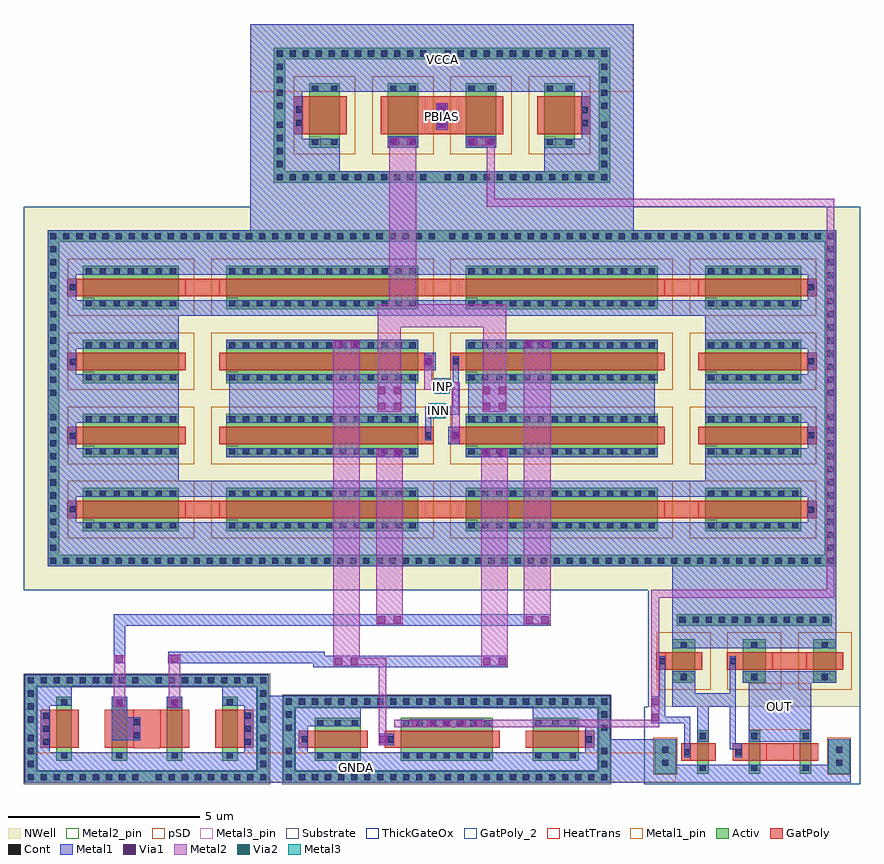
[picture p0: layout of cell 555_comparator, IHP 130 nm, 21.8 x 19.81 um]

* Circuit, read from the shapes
.subckt 555_comparator GNDA INN INP OUT PBIAS VCCA
XM1 GNDA GNDA GNDA GNDA sg13_hv_nmos w=0.4u l=1u m=2
XM2 n1 n1 GNDA GNDA sg13_hv_nmos w=0.4u l=1u
XM3 n2 n1 GNDA GNDA sg13_hv_nmos w=0.4u l=1u
XM4 GNDA GNDA GNDA GNDA sg13_hv_nmos w=1.2u l=0.45u m=2
XM5 n3 n2 GNDA GNDA sg13_hv_nmos w=2.4u l=0.45u
XM6 n4 n3 GNDA GNDA sg13_hv_nmos w=0.3u l=0.45u
XM7 OUT n4 GNDA GNDA sg13_hv_nmos w=0.3u l=0.45u m=2
XM8 VCCA VCCA VCCA VCCA sg13_hv_pmos w=2.5u l=0.45u m=8
XM9 VCCA VCCA VCCA VCCA sg13_hv_pmos w=5u l=0.45u m=4
XM10 n5 INN n1 VCCA sg13_hv_pmos w=5u l=0.45u m=2
XM11 n2 INP n5 VCCA sg13_hv_pmos w=5u l=0.45u m=2
XM12 VCCA VCCA VCCA VCCA sg13_hv_pmos w=0.8u l=1u m=2
XM13 VCCA PBIAS n5 VCCA sg13_hv_pmos w=0.8u l=1u
XM14 VCCA PBIAS n3 VCCA sg13_hv_pmos w=0.8u l=1u
XM15 VCCA n3 n4 VCCA sg13_hv_pmos w=0.6u l=0.45u
XM16 VCCA n4 OUT VCCA sg13_hv_pmos w=0.6u l=0.45u m=2
.ends

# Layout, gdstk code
from math import pi, radians
import gdstk
lib = gdstk.Library(unit=1e-6, precision=5e-09)
def R(c, l, rs):  # rectangles x0, y0, x1, y1
    for r in rs: c.add(gdstk.rectangle(r[:2], r[2:], *l))
def A(c, l, x, y, w, h, nx, ny, dx, dy):  # array of equal rectangles
    R(c, l, [(x+i*dx, y+j*dy, x+i*dx+w, y+j*dy+h) for i in range(nx) for j in range(ny)])
def P(c, l, *ps):  # polygons
    for p in ps: c.add(gdstk.Polygon(p, *l))
Activ = (1, 0)
GatPoly = (5, 0)
GatPoly_2 = (5, 2)
Cont = (6, 0)
Metal1 = (8, 0)
Metal1_pin = (8, 2)
Metal2 = (10, 0)
Metal2_pin = (10, 2)
pSD = (14, 0)
Via1 = (19, 0)
Via2 = (29, 0)
Metal3 = (30, 0)
Metal3_pin = (30, 2)
NWell = (31, 0)
Substrate = (40, 0)
ThickGateOx = (44, 0)
HeatTrans = (51, 0)

nmoshv = lib.new_cell('nmosHV')
R(nmoshv, Activ, [(0,0,0.3,0.3), (0,0,1.68,0.4), (1.38,0,1.68,0.3)])
R(nmoshv, GatPoly, [(0.34,-0.18,1.34,0.58)])
R(nmoshv, GatPoly_2, [(0.34,-0.18,1.34,0.58)])
R(nmoshv, Cont, [(0.07,0.12,0.23,0.28), (1.45,0.12,1.61,0.28)])
R(nmoshv, Metal1, [(0.07,0,0.23,0.4), (1.45,0,1.61,0.4)])
R(nmoshv, Metal1_pin, [(0.07,0,0.23,0.4), (1.45,0,1.61,0.4)])
R(nmoshv, ThickGateOx, [(-0.27,-0.52,1.95,0.92)])
R(nmoshv, HeatTrans, [(0.34,-0.18,1.34,0.58)])
nmoshv.add(gdstk.Label('nmosHV', (0.84,0.2), layer=63, texttype=0))
nmoshv.add(gdstk.Label('nmosHV', (0.84,0.2), layer=51, texttype=0))

via_stack = lib.new_cell('via_stack')
R(via_stack, GatPoly, [(-0.15,-0.49,0.15,0.49)])
A(via_stack, Cont, -0.08, -0.42, 0.16, 0.16, 1, 3, 0, 0.34)
R(via_stack, Metal1, [(-0.08,-0.47,0.08,0.47)])

via_stack_1 = lib.new_cell('via_stack$1')
R(via_stack_1, GatPoly, [(-0.15,-0.32,0.15,0.32)])
R(via_stack_1, Cont, [(-0.08,-0.25,0.08,-0.09), (-0.08,0.09,0.08,0.25)])
R(via_stack_1, Metal1, [(-0.08,-0.3,0.08,0.3)])

pmoshv = lib.new_cell('pmosHV')
R(pmoshv, Activ, [(0,0,0.3,0.3), (0,0,1.13,5), (0.83,0,1.13,0.3)])
R(pmoshv, GatPoly, [(0.34,-0.18,0.79,5.18)])
R(pmoshv, GatPoly_2, [(0.34,-0.18,0.79,5.18)])
A(pmoshv, Cont, 0.07, 0.07, 0.16, 0.16, 1, 4, 0, 0.36)
A(pmoshv, Cont, 0.9, 0.07, 0.16, 0.16, 1, 4, 0, 0.36)
A(pmoshv, Cont, 0.07, 1.515, 0.16, 0.16, 1, 3, 0, 0.36)
A(pmoshv, Cont, 0.9, 1.515, 0.16, 0.16, 1, 3, 0, 0.36)
A(pmoshv, Cont, 0.07, 2.6, 0.16, 0.16, 1, 3, 0, 0.36)
A(pmoshv, Cont, 0.9, 2.6, 0.16, 0.16, 1, 3, 0, 0.36)
A(pmoshv, Cont, 0.07, 3.685, 0.16, 0.16, 1, 3, 0, 0.36)
A(pmoshv, Cont, 0.9, 3.685, 0.16, 0.16, 1, 3, 0, 0.36)
R(pmoshv, Cont, [(0.07,4.77,0.23,4.93), (0.9,4.77,1.06,4.93)])
R(pmoshv, Metal1, [(0.07,0,0.23,5), (0.9,0,1.06,5)])
R(pmoshv, Metal1_pin, [(0.07,0,0.23,5), (0.9,0,1.06,5)])
R(pmoshv, pSD, [(-0.18,-0.4,1.31,5.4)])
R(pmoshv, NWell, [(-0.62,-0.62,1.75,5.62)])
R(pmoshv, Substrate, [(0.83,0,1.13,0.3)])
R(pmoshv, ThickGateOx, [(-0.62,-0.62,1.75,5.62)])
R(pmoshv, HeatTrans, [(0.34,-0.18,0.79,5.18)])
pmoshv.add(gdstk.Label('pmosHV', (0.565,2.5), layer=63, texttype=0))
pmoshv.add(gdstk.Label('pmos', (0.565,2.5), layer=51, texttype=0))

via_stack_14 = lib.new_cell('via_stack$14')
R(via_stack_14, Metal1, [(-0.35,-0.31,0.35,0.31)])
R(via_stack_14, Metal2, [(-0.35,-0.305,0.35,0.305)])
R(via_stack_14, Via1, [(-0.3,-0.3,-0.11,-0.11), (0.11,-0.3,0.3,-0.11), (-0.3,0.11,-0.11,0.3), (0.11,0.11,0.3,0.3)])

pmoshv_1 = lib.new_cell('pmosHV$1')
R(pmoshv_1, Activ, [(0,0,0.3,0.3), (0,0,1.13,2.5), (0.83,0,1.13,0.3)])
R(pmoshv_1, GatPoly, [(0.34,-0.18,0.79,2.68)])
R(pmoshv_1, GatPoly_2, [(0.34,-0.18,0.79,2.68)])
A(pmoshv_1, Cont, 0.07, 0.07, 0.16, 0.16, 1, 3, 0, 0.365)
A(pmoshv_1, Cont, 0.9, 0.07, 0.16, 0.16, 1, 3, 0, 0.365)
A(pmoshv_1, Cont, 0.07, 1.17, 0.16, 0.16, 1, 3, 0, 0.365)
A(pmoshv_1, Cont, 0.9, 1.17, 0.16, 0.16, 1, 3, 0, 0.365)
R(pmoshv_1, Cont, [(0.07,2.27,0.23,2.43), (0.9,2.27,1.06,2.43)])
R(pmoshv_1, Metal1, [(0.07,0,0.23,2.5), (0.9,0,1.06,2.5)])
R(pmoshv_1, Metal1_pin, [(0.07,0,0.23,2.5), (0.9,0,1.06,2.5)])
R(pmoshv_1, pSD, [(-0.18,-0.4,1.31,2.9)])
R(pmoshv_1, NWell, [(-0.62,-0.62,1.75,3.12)])
R(pmoshv_1, Substrate, [(0.83,0,1.13,0.3)])
R(pmoshv_1, ThickGateOx, [(-0.62,-0.62,1.75,3.12)])
R(pmoshv_1, HeatTrans, [(0.34,-0.18,0.79,2.68)])
pmoshv_1.add(gdstk.Label('pmosHV', (0.565,1.25), layer=63, texttype=0))
pmoshv_1.add(gdstk.Label('pmos', (0.565,1.25), layer=51, texttype=0))

pmoshv_2 = lib.new_cell('pmosHV$2')
R(pmoshv_2, Activ, [(0,0,0.3,0.3), (0,0,1.68,0.8), (1.38,0,1.68,0.3)])
R(pmoshv_2, GatPoly, [(0.34,-0.18,1.34,0.98)])
R(pmoshv_2, GatPoly_2, [(0.34,-0.18,1.34,0.98)])
R(pmoshv_2, Cont, [(0.07,0.07,0.23,0.23), (1.45,0.07,1.61,0.23), (0.07,0.57,0.23,0.73), (1.45,0.57,1.61,0.73)])
R(pmoshv_2, Metal1, [(0.07,0,0.23,0.8), (1.45,0,1.61,0.8)])
R(pmoshv_2, Metal1_pin, [(0.07,0,0.23,0.8), (1.45,0,1.61,0.8)])
R(pmoshv_2, pSD, [(-0.18,-0.4,1.86,1.2)])
R(pmoshv_2, NWell, [(-0.62,-0.62,2.3,1.42)])
R(pmoshv_2, Substrate, [(1.38,0,1.68,0.3)])
R(pmoshv_2, ThickGateOx, [(-0.62,-0.62,2.3,1.42)])
R(pmoshv_2, HeatTrans, [(0.34,-0.18,1.34,0.98)])
pmoshv_2.add(gdstk.Label('pmosHV', (0.84,0.4), layer=63, texttype=0))
pmoshv_2.add(gdstk.Label('pmos', (0.84,0.4), layer=51, texttype=0))

via_stack_3 = lib.new_cell('via_stack$3')
R(via_stack_3, GatPoly, [(-0.15,-0.15,0.15,0.15)])
R(via_stack_3, Cont, [(-0.08,-0.08,0.08,0.08)])
R(via_stack_3, Metal1, [(-0.13,-0.08,0.13,0.08)])

via_stack_15 = lib.new_cell('via_stack$15')
R(via_stack_15, Metal1, [(-0.965,-0.105,0.965,0.105)])
R(via_stack_15, Metal2, [(-0.965,-0.1,0.965,0.1)])
A(via_stack_15, Via1, -0.915, -0.095, 0.19, 0.19, 5, 1, 0.41, 0)

nmoshv_2 = lib.new_cell('nmosHV$2')
R(nmoshv_2, Activ, [(0,0,0.3,0.3), (0,0,1.13,2.4), (0.83,0,1.13,0.3)])
R(nmoshv_2, GatPoly, [(0.34,-0.18,0.79,2.58)])
R(nmoshv_2, GatPoly_2, [(0.34,-0.18,0.79,2.58)])
A(nmoshv_2, Cont, 0.07, 0.07, 0.16, 0.16, 1, 7, 0, 0.35)
A(nmoshv_2, Cont, 0.9, 0.07, 0.16, 0.16, 1, 7, 0, 0.35)
R(nmoshv_2, Metal1, [(0.07,0,0.23,2.4), (0.9,0,1.06,2.4)])
R(nmoshv_2, Metal1_pin, [(0.07,0,0.23,2.4), (0.9,0,1.06,2.4)])
R(nmoshv_2, ThickGateOx, [(-0.27,-0.52,1.4,2.92)])
R(nmoshv_2, HeatTrans, [(0.34,-0.18,0.79,2.58)])
nmoshv_2.add(gdstk.Label('nmosHV', (0.565,1.2), layer=63, texttype=0))
nmoshv_2.add(gdstk.Label('nmosHV', (0.565,1.2), layer=51, texttype=0))

nmoshv_3 = lib.new_cell('nmosHV$3')
R(nmoshv_3, Activ, [(0,0,0.3,0.3), (0,0,1.13,1.2), (0.83,0,1.13,0.3)])
R(nmoshv_3, GatPoly, [(0.34,-0.18,0.79,1.38)])
R(nmoshv_3, GatPoly_2, [(0.34,-0.18,0.79,1.38)])
A(nmoshv_3, Cont, 0.07, 0.07, 0.16, 0.16, 1, 3, 0, 0.45)
A(nmoshv_3, Cont, 0.9, 0.07, 0.16, 0.16, 1, 3, 0, 0.45)
R(nmoshv_3, Metal1, [(0.07,0,0.23,1.2), (0.9,0,1.06,1.2)])
R(nmoshv_3, Metal1_pin, [(0.07,0,0.23,1.2), (0.9,0,1.06,1.2)])
R(nmoshv_3, ThickGateOx, [(-0.27,-0.52,1.4,1.72)])
R(nmoshv_3, HeatTrans, [(0.34,-0.18,0.79,1.38)])
nmoshv_3.add(gdstk.Label('nmosHV', (0.565,0.6), layer=63, texttype=0))
nmoshv_3.add(gdstk.Label('nmosHV', (0.565,0.6), layer=51, texttype=0))

via_stack_12 = lib.new_cell('via_stack$12')
R(via_stack_12, Metal1, [(-0.35,-0.105,0.35,0.105)])
R(via_stack_12, Metal2, [(-0.35,-0.1,0.35,0.1)])
R(via_stack_12, Via1, [(-0.3,-0.095,-0.11,0.095), (0.11,-0.095,0.3,0.095)])

nmoshv_4 = lib.new_cell('nmosHV$4')
R(nmoshv_4, Activ, [(0,0,0.3,0.3), (0,0,1.13,0.3), (0.83,0,1.13,0.3)])
R(nmoshv_4, GatPoly, [(0.34,-0.18,0.79,0.48)])
R(nmoshv_4, GatPoly_2, [(0.34,-0.18,0.79,0.48)])
R(nmoshv_4, Cont, [(0.07,0.07,0.23,0.23), (0.9,0.07,1.06,0.23)])
R(nmoshv_4, Metal1, [(0.07,0,0.23,0.3), (0.9,0,1.06,0.3)])
R(nmoshv_4, Metal1_pin, [(0.07,0,0.23,0.3), (0.9,0,1.06,0.3)])
R(nmoshv_4, ThickGateOx, [(-0.27,-0.52,1.4,0.82)])
R(nmoshv_4, HeatTrans, [(0.34,-0.18,0.79,0.48)])
nmoshv_4.add(gdstk.Label('nmosHV', (0.565,0.15), layer=63, texttype=0))
nmoshv_4.add(gdstk.Label('nmosHV', (0.565,0.15), layer=51, texttype=0))

pmoshv_3 = lib.new_cell('pmosHV$3')
R(pmoshv_3, Activ, [(0,0,0.3,0.3), (0,0,1.13,0.6), (0.83,0,1.13,0.3)])
R(pmoshv_3, GatPoly, [(0.34,-0.18,0.79,0.78)])
R(pmoshv_3, GatPoly_2, [(0.34,-0.18,0.79,0.78)])
R(pmoshv_3, Cont, [(0.07,0.22,0.23,0.38), (0.9,0.22,1.06,0.38)])
R(pmoshv_3, Metal1, [(0.07,0,0.23,0.6), (0.9,0,1.06,0.6)])
R(pmoshv_3, Metal1_pin, [(0.07,0,0.23,0.6), (0.9,0,1.06,0.6)])
R(pmoshv_3, pSD, [(-0.18,-0.4,1.31,1)])
R(pmoshv_3, NWell, [(-0.62,-0.62,1.75,1.22)])
R(pmoshv_3, Substrate, [(0.83,0,1.13,0.3)])
R(pmoshv_3, ThickGateOx, [(-0.62,-0.62,1.75,1.22)])
R(pmoshv_3, HeatTrans, [(0.34,-0.18,0.79,0.78)])
pmoshv_3.add(gdstk.Label('pmosHV', (0.565,0.3), layer=63, texttype=0))
pmoshv_3.add(gdstk.Label('pmos', (0.565,0.3), layer=51, texttype=0))

via_stack_4 = lib.new_cell('via_stack$4')
R(via_stack_4, Activ, [(-0.15,-2.02,0.15,2.02)])
A(via_stack_4, Cont, -0.08, -1.95, 0.16, 0.16, 1, 12, 0, 0.34)
R(via_stack_4, Metal1, [(-0.08,-2,0.08,2)])

via_stack_6 = lib.new_cell('via_stack$6')
R(via_stack_6, Activ, [(-0.32,-0.15,0.32,0.15)])
R(via_stack_6, Cont, [(-0.25,-0.08,-0.09,0.08), (0.09,-0.08,0.25,0.08)])
R(via_stack_6, Metal1, [(-0.3,-0.08,0.3,0.08)])

via_stack_16 = lib.new_cell('via_stack$16')
R(via_stack_16, GatPoly, [(-0.32,-0.15,0.32,0.15)])
R(via_stack_16, Cont, [(-0.25,-0.08,-0.09,0.08), (0.09,-0.08,0.25,0.08)])
R(via_stack_16, Metal1, [(-0.35,-0.105,0.35,0.105)])
R(via_stack_16, Metal2, [(-0.35,-0.1,0.35,0.1)])
R(via_stack_16, Via1, [(-0.3,-0.095,-0.11,0.095), (0.11,-0.095,0.3,0.095)])

via_stack_8 = lib.new_cell('via_stack$8')
R(via_stack_8, GatPoly, [(-0.32,-0.15,0.32,0.15)])
R(via_stack_8, Cont, [(-0.25,-0.08,-0.09,0.08), (0.09,-0.08,0.25,0.08)])
R(via_stack_8, Metal1, [(-0.3,-0.08,0.3,0.08)])

via_stack_9 = lib.new_cell('via_stack$9')
R(via_stack_9, GatPoly, [(-0.15,-0.15,0.15,0.15)])
R(via_stack_9, Cont, [(-0.08,-0.08,0.08,0.08)])
R(via_stack_9, Metal1, [(-0.145,-0.105,0.145,0.105)])
R(via_stack_9, Metal2, [(-0.145,-0.1,0.145,0.1)])
R(via_stack_9, Via1, [(-0.095,-0.095,0.095,0.095)])

via_stack_10 = lib.new_cell('via_stack$10')
R(via_stack_10, Metal1, [(-0.145,-0.105,0.145,0.105)])
R(via_stack_10, Metal2, [(-0.145,-0.1,0.145,0.1)])
R(via_stack_10, Via1, [(-0.095,-0.095,0.095,0.095)])
R(via_stack_10, Via2, [(-0.095,-0.095,0.095,0.095)])
R(via_stack_10, Metal3, [(-0.145,-0.1,0.145,0.1)])

via_stack_11 = lib.new_cell('via_stack$11')
R(via_stack_11, Metal2, [(-0.145,-0.1,0.145,0.1)])
R(via_stack_11, Via2, [(-0.095,-0.095,0.095,0.095)])
R(via_stack_11, Metal3, [(-0.145,-0.1,0.145,0.1)])

via_stack_13 = lib.new_cell('via_stack$13')
R(via_stack_13, Metal1, [(-0.145,-0.105,0.145,0.105)])
R(via_stack_13, Metal2, [(-0.145,-0.1,0.145,0.1)])
R(via_stack_13, Via1, [(-0.095,-0.095,0.095,0.095)])

c_555_comparator = lib.new_cell('555_comparator')
R(c_555_comparator, Activ, [(16.44,0.27,17,1.17), (20.97,0.27,21.53,1.17), (0.03,0.33,0.33,2.55), (6.09,0.33,6.39,2.55), (6.76,0.33,7.06,2), (14.98,0.33,15.28,2), (6.76,2,15.28,2.3), (0.03,2.55,6.39,2.85), (0.62,5.97,0.92,14.13), (20.88,5.97,21.18,14.13), (0.62,14.13,21.18,14.43), (6.52,15.97,6.82,18.89), (14.98,15.97,15.28,18.89), (6.52,18.89,15.28,19.19)])
P(c_555_comparator, Activ, [(6.76,0.03),(6.76,2),(7.06,2),(7.06,0.33),(14.98,0.33),(14.98,2),(6.76,2),(6.76,2.3),(15.28,2.3),(15.28,0.03)],
  [(0.03,0.03),(0.03,2.55),(0.33,2.55),(0.33,0.33),(6.09,0.33),(6.09,2.55),(0.03,2.55),(0.03,2.85),(6.39,2.85),(6.39,0.03)],
  [(0.62,5.67),(0.62,14.13),(0.92,14.13),(0.92,5.97),(20.88,5.97),(20.88,14.13),(0.62,14.13),(0.62,14.43),(21.18,14.43),(21.18,5.67)],
  [(6.52,15.67),(6.52,18.89),(6.82,18.89),(6.82,15.97),(14.98,15.97),(14.98,18.89),(6.52,18.89),(6.52,19.19),(15.28,19.19),(15.28,15.67)])
A(c_555_comparator, GatPoly, 1.13, 6.93, 0.23, 0.45, 1, 4, 0, 1.93)
A(c_555_comparator, GatPoly, 4.22, 6.93, 0.88, 0.45, 3, 2, 6.24, 5.79)
A(c_555_comparator, GatPoly, 20.44, 6.93, 0.23, 0.45, 1, 4, 0, 1.93)
R(c_555_comparator, GatPoly, [(17.14,0.61,17.37,1.06), (18.48,0.61,18.71,1.06), (19.37,0.61,20.05,1.06), (2.87,0.935,3.55,1.935), (7.17,0.94,7.4,1.39), (9.41,0.94,9.64,1.39), (14.64,0.94,14.87,1.39), (16.48,2.98,16.72,3.43), (18.32,2.98,18.56,3.43), (19.52,2.98,20.4,3.43), (10.46,8.86,10.69,9.31), (11.11,8.86,11.34,9.31), (10.46,10.79,10.69,11.24), (11.11,10.79,11.34,11.24), (7.03,16.93,7.26,17.93), (10.46,16.93,11.34,17.93), (14.54,16.93,14.77,17.93)])
A(c_555_comparator, Cont, 0.1, 0.1, 0.16, 0.16, 9, 2, 0.34, 2.52)
A(c_555_comparator, Cont, 3.44, 0.1, 0.16, 0.16, 9, 2, 0.34, 2.52)
A(c_555_comparator, Cont, 6.83, 0.1, 0.16, 0.16, 12, 2, 0.34, 1.97)
A(c_555_comparator, Cont, 10.97, 0.1, 0.16, 0.16, 13, 2, 0.34, 1.97)
A(c_555_comparator, Cont, 0.1, 0.44, 0.16, 0.16, 1, 3, 0, 0.34)
A(c_555_comparator, Cont, 6.16, 0.44, 0.16, 0.16, 1, 3, 0, 0.34)
A(c_555_comparator, Cont, 0.1, 1.6, 0.16, 0.16, 1, 3, 0, 0.34)
A(c_555_comparator, Cont, 6.16, 1.6, 0.16, 0.16, 1, 3, 0, 0.34)
A(c_555_comparator, Cont, 0.69, 5.74, 0.16, 0.16, 30, 2, 0.34, 8.46)
A(c_555_comparator, Cont, 11.09, 5.74, 0.16, 0.16, 30, 2, 0.34, 8.46)
A(c_555_comparator, Cont, 0.69, 6.08, 0.16, 0.16, 1, 11, 0, 0.34)
A(c_555_comparator, Cont, 20.95, 6.08, 0.16, 0.16, 1, 11, 0, 0.34)
A(c_555_comparator, Cont, 0.69, 10.12, 0.16, 0.16, 1, 12, 0, 0.34)
A(c_555_comparator, Cont, 20.95, 10.12, 0.16, 0.16, 1, 12, 0, 0.34)
A(c_555_comparator, Cont, 6.59, 15.74, 0.16, 0.16, 12, 2, 0.34, 3.22)
A(c_555_comparator, Cont, 10.97, 15.74, 0.16, 0.16, 13, 2, 0.34, 3.22)
A(c_555_comparator, Cont, 6.59, 16.08, 0.16, 0.16, 1, 4, 0, 0.34)
A(c_555_comparator, Cont, 15.05, 16.08, 0.16, 0.16, 1, 4, 0, 0.34)
A(c_555_comparator, Cont, 6.59, 17.6, 0.16, 0.16, 1, 4, 0, 0.34)
A(c_555_comparator, Cont, 15.05, 17.6, 0.16, 0.16, 1, 4, 0, 0.34)
R(c_555_comparator, Cont, [(6.83,0.44,6.99,0.6), (15.05,0.44,15.21,0.6), (6.83,0.78,6.99,0.94), (15.05,0.78,15.21,0.94), (6.83,1.39,6.99,1.55), (15.05,1.39,15.21,1.55), (6.83,1.73,6.99,1.89), (15.05,1.73,15.21,1.89)])
A(c_555_comparator, Metal1, 1.36, 7.49, 2.68, 1.26, 1, 3, 0, 1.93)
A(c_555_comparator, Metal1, 17.76, 7.49, 2.68, 1.26, 1, 3, 0, 1.93)
R(c_555_comparator, Metal1, [(0.03,0.03,6.39,0.33), (6.39,0.03,6.76,2.3), (6.76,0.03,15.28,0.33), (15.12,0.03,21.56,0.24), (15.12,0.21,16.41,1.17), (16.41,0.24,17,1.17), (16.41,0.24,17.55,0.5), (17.55,0.24,21.56,0.5), (0.33,0.325,1.25,0.825), (1.25,0.325,6.09,0.825), (7.06,0.325,14.98,0.825), (0.03,0.33,0.33,2.55), (6.09,0.33,6.39,2.55), (6.76,0.33,7.06,2), (14.98,0.33,15.28,2), (20.97,0.5,21.56,1.17), (0.33,0.825,0.67,2.545), (5.75,0.825,6.09,2.045), (7.06,0.825,7.4,1.5), (14.64,0.825,14.98,1.5), (9.275,1.01,9.64,1.31), (17.55,1.1,17.85,2.02), (18.89,1.1,20.53,1.4), (2.29,1.135,3.03,1.735), (18.89,1.4,20.53,2.64), (7.06,1.5,8.78,2), (13.26,1.5,14.98,2), (2.29,1.735,2.69,2.05), (2.29,1.98,2.69,2.28), (3.73,1.98,4.13,2.28), (6.76,2,15.28,2.3), (16.9,2.02,17.5,2.94), (16.9,2.02,17.85,2.37), (17.85,2.02,18.4,2.37), (0.33,2.045,1.25,2.545), (5.17,2.045,6.09,2.545), (0.33,2.545,1.25,2.55), (5.17,2.545,6.09,2.55), (0.03,2.55,6.39,2.85), (18.74,2.64,21.18,2.94), (16.9,3.54,21.18,4.36), (16.9,4.36,21.18,5.67), (0.62,5.67,21.18,5.97), (0.62,5.97,0.92,14.13), (0.92,5.97,20.88,6.82), (0.92,5.97,1.36,14.13), (20.44,5.97,20.88,14.13), (20.88,5.97,21.18,14.13), (4.04,7.49,17.76,7.9), (5.28,8.52,10.28,8.75), (11.52,8.52,16.52,8.75), (11.06,8.86,11.36,9.31), (5.35,9.42,10.21,10.68), (11.59,9.42,16.45,10.68), (10.46,9.62,11.34,9.84), (10.44,10.79,10.74,11.24), (5.28,11.35,10.28,11.58), (11.52,11.35,16.52,11.58), (4.04,12.2,17.76,12.61), (0.92,13.28,20.88,14.13), (0.62,14.13,21.18,14.43), (5.9,14.43,6.52,19.19), (6.52,14.43,15.28,15.67), (15.28,14.43,15.9,19.19), (6.52,15.67,15.28,15.97), (6.52,15.97,6.82,18.89), (6.82,15.97,7.26,18.04), (7.26,15.97,8.24,16.82), (13.56,15.97,14.54,16.82), (14.54,15.97,14.98,18.04), (14.98,15.97,15.28,18.89), (9.48,16.59,10.28,16.89), (11.52,16.59,12.32,16.89), (6.82,18.04,14.98,18.89), (6.52,18.89,15.28,19.19), (5.9,19.19,15.9,19.81)])
R(c_555_comparator, Metal1_pin, [(0.04,0.04,16.99,0.82), (18.91,1.42,20.51,2.62), (5.92,18.05,15.89,19.8)])
R(c_555_comparator, Metal2, [(8.06,3.08,8.76,11.36), (11.92,3.08,12.62,8.74), (9.18,4.17,9.88,8.74), (13.03,4.17,13.73,11.56), (10.54,9.53,10.94,9.93), (10.75,17.05,11.05,17.75)])
R(c_555_comparator, Metal2_pin, [(10.76,17.06,11.04,17.74)])
R(c_555_comparator, pSD, [(16.41,0.24,17.03,1.2), (20.94,0.24,21.56,1.2), (0,0.36,0.36,2.52), (6.06,0.36,6.42,2.52), (6.73,0.36,7.09,1.97), (14.95,0.36,15.31,1.97), (6.73,1.97,15.31,2.33), (0,2.52,6.42,2.88)])
P(c_555_comparator, pSD, [(6.73,0),(6.73,1.97),(7.09,1.97),(7.09,0.36),(14.95,0.36),(14.95,1.97),(6.73,1.97),(6.73,2.33),(15.31,2.33),(15.31,0)],
  [(0,0),(0,2.52),(0.36,2.52),(0.36,0.36),(6.06,0.36),(6.06,2.52),(0,2.52),(0,2.88),(6.42,2.88),(6.42,0)])
R(c_555_comparator, Metal3, [(10.6,9.53,11,9.93), (10.7,10.17,11.1,10.57)])
R(c_555_comparator, Metal3_pin, [(10.61,9.54,10.99,9.92), (10.71,10.18,11.09,10.56)])
R(c_555_comparator, NWell, [(16.28,4.39,21.8,5.05), (0,5.05,21.8,15.05), (0.27,5.32,21.53,14.78), (5.9,15.05,15.9,19.81), (6.17,15.32,15.63,19.54)])
R(c_555_comparator, Substrate, [(0,0.36,0.36,2.52), (6.06,0.36,6.42,2.52), (6.73,0.36,7.09,1.97), (14.95,0.36,15.31,1.97), (6.73,1.97,15.31,2.33), (0,2.52,6.42,2.88)])
P(c_555_comparator, Substrate, [(6.73,0),(6.73,1.97),(7.09,1.97),(7.09,0.36),(14.95,0.36),(14.95,1.97),(6.73,1.97),(6.73,2.33),(15.31,2.33),(15.31,0)],
  [(0,0),(0,2.52),(0.36,2.52),(0.36,0.36),(6.06,0.36),(6.06,2.52),(0,2.52),(0,2.88),(6.42,2.88),(6.42,0)])
R(c_555_comparator, ThickGateOx, [(16.17,0,16.92,2.02), (16.92,0,17.03,2.02), (21.05,0,21.8,2.02), (17.03,1.67,21.05,2.02), (16.28,4.39,21.8,5.05), (0,5.05,21.8,15.05), (5.9,15.05,15.9,19.81)])
c_555_comparator.add(gdstk.FlexPath([(8.3,3.19),(9.35,3.19),(9.35,1.015)], 0.2, ends="flush", simple_path=True, layer=10, datatype=0))  # Metal2
c_555_comparator.add(gdstk.FlexPath([(9.53,9.7),(9.53,12.2),(12.27,12.2),(12.27,9.7)], 0.6, ends="flush", simple_path=True, layer=10, datatype=0))  # Metal2
c_555_comparator.add(gdstk.FlexPath([(9.88,16.64),(9.88,12.2)], 0.7, ends="flush", simple_path=True, layer=10, datatype=0))  # Metal2
c_555_comparator.add(gdstk.FlexPath([(11.57,16.74),(12.17,16.74),(12.17,15.15),(21.03,15.15),(21.03,4.96),(16.46,4.96),(16.46,1.58),(9.66,1.58)], 0.2, ends="flush", simple_path=True, layer=10, datatype=0))  # Metal2
c_555_comparator.add(gdstk.FlexPath([(2.49,3.36),(2.49,1.995)], 0.3, ends="flush", simple_path=True, layer=10, datatype=0))  # Metal2
c_555_comparator.add(gdstk.FlexPath([(3.93,3.365),(3.93,1.995)], 0.3, ends="flush", simple_path=True, layer=10, datatype=0))  # Metal2
c_555_comparator.add(gdstk.FlexPath([(11.26,8.94),(11.26,10.37),(10.54,10.37),(10.54,11.16)], 0.2, ends="flush", simple_path=True, layer=10, datatype=0))  # Metal2
c_555_comparator.add(gdstk.FlexPath([(18.63,0.7),(18.63,0.98),(18.48,0.98),(18.48,3.33)], 0.16, ends="flush", simple_path=True, layer=8, datatype=0))  # Metal1
c_555_comparator.add(gdstk.FlexPath([(17.29,0.7),(17.29,1.67),(16.64,1.67),(16.64,3.33)], 0.16, ends="flush", simple_path=True, layer=8, datatype=0))  # Metal1
c_555_comparator.add(gdstk.FlexPath([(13.73,4.28),(2.49,4.28),(2.49,3.15),(2.49,3.15)], 0.3, ends="flush", simple_path=True, layer=8, datatype=0))  # Metal1
c_555_comparator.add(gdstk.FlexPath([(12.62,3.19),(7.7,3.19),(7.7,3.3),(3.77,3.3)], 0.3, ends="flush", simple_path=True, layer=8, datatype=0))  # Metal1
c_555_comparator.add(gdstk.FlexPath([(10.54,8.955),(10.54,9.73),(11.26,9.73),(11.26,11.145)], 0.16, ends="flush", simple_path=True, layer=8, datatype=0))  # Metal1
c_555_comparator.add(gdstk.Reference(nmoshv, (2.29,2.28), rotation=3*pi/2))
c_555_comparator.add(gdstk.Reference(nmoshv, (3.73,2.28), rotation=3*pi/2))
c_555_comparator.add(gdstk.Reference(via_stack, (0.59,1.44)))
c_555_comparator.add(gdstk.Reference(nmoshv, (5.17,2.28), rotation=3*pi/2))
c_555_comparator.add(gdstk.Reference(via_stack_1, (2.95,1.44)))
c_555_comparator.add(gdstk.Reference(via_stack, (5.83,1.44)))
c_555_comparator.add(gdstk.Reference(pmoshv, (5.28,9.65), rotation=3*pi/2))
c_555_comparator.add(gdstk.Reference(via_stack_14, (9.53,10.05), rotation=pi/2))
c_555_comparator.add(gdstk.Reference(pmoshv, (11.52,11.58), rotation=3*pi/2))
c_555_comparator.add(gdstk.Reference(pmoshv, (11.52,9.65), rotation=3*pi/2))
c_555_comparator.add(gdstk.Reference(pmoshv, (5.28,13.51), rotation=3*pi/2))
c_555_comparator.add(gdstk.Reference(pmoshv, (11.52,13.51), rotation=3*pi/2))
c_555_comparator.add(gdstk.Reference(pmoshv, (5.28,7.72), rotation=3*pi/2))
c_555_comparator.add(gdstk.Reference(pmoshv, (11.52,7.72), rotation=3*pi/2))
c_555_comparator.add(gdstk.Reference(pmoshv_1, (17.76,13.51), rotation=3*pi/2))
c_555_comparator.add(gdstk.Reference(pmoshv_1, (17.76,11.58), rotation=3*pi/2))
c_555_comparator.add(gdstk.Reference(pmoshv_1, (17.76,9.65), rotation=3*pi/2))
c_555_comparator.add(gdstk.Reference(pmoshv_1, (17.76,7.72), rotation=3*pi/2))
c_555_comparator.add(gdstk.Reference(pmoshv_1, (1.54,7.72), rotation=3*pi/2))
c_555_comparator.add(gdstk.Reference(pmoshv_1, (1.54,9.65), rotation=3*pi/2))
c_555_comparator.add(gdstk.Reference(pmoshv_1, (1.54,11.58), rotation=3*pi/2))
c_555_comparator.add(gdstk.Reference(pmoshv_1, (1.54,13.51), rotation=3*pi/2))
c_555_comparator.add(gdstk.Reference(via_stack_14, (12.27,10.05), rotation=pi/2))
c_555_comparator.add(gdstk.Reference(pmoshv_2, (7.44,18.27), rotation=3*pi/2))
c_555_comparator.add(gdstk.Reference(pmoshv_2, (9.48,18.27), rotation=3*pi/2))
c_555_comparator.add(gdstk.Reference(pmoshv_2, (11.52,18.27), rotation=3*pi/2))
c_555_comparator.add(gdstk.Reference(pmoshv_2, (13.56,18.27), rotation=3*pi/2))
c_555_comparator.add(gdstk.Reference(via_stack_3, (1.28,12.945), rotation=3*pi/2))
c_555_comparator.add(gdstk.Reference(via_stack_3, (1.28,11.01), rotation=3*pi/2))
c_555_comparator.add(gdstk.Reference(via_stack_3, (1.28,9.08), rotation=3*pi/2))
c_555_comparator.add(gdstk.Reference(via_stack_3, (1.28,7.16), rotation=3*pi/2))
c_555_comparator.add(gdstk.Reference(via_stack_3, (20.52,7.15), rotation=3*pi/2))
c_555_comparator.add(gdstk.Reference(via_stack_3, (20.52,9.09), rotation=3*pi/2))
c_555_comparator.add(gdstk.Reference(via_stack_3, (20.52,11.02), rotation=3*pi/2))
c_555_comparator.add(gdstk.Reference(via_stack_3, (20.52,12.95), rotation=3*pi/2))
c_555_comparator.add(gdstk.Reference(via_stack_15, (11.02,1.58), rotation=pi))
c_555_comparator.add(gdstk.Reference(nmoshv_2, (9.82,1.73), rotation=3*pi/2))
c_555_comparator.add(gdstk.Reference(nmoshv_3, (13.26,1.73), rotation=3*pi/2))
c_555_comparator.add(gdstk.Reference(nmoshv_3, (7.58,1.73), rotation=3*pi/2))
c_555_comparator.add(gdstk.Reference(via_stack_12, (16.46,1.94), rotation=3*pi/2))
c_555_comparator.add(gdstk.Reference(via_stack_3, (7.32,1.17), rotation=pi/2))
c_555_comparator.add(gdstk.Reference(via_stack_3, (9.56,1.16), rotation=pi/2))
c_555_comparator.add(gdstk.Reference(via_stack_3, (14.72,1.16), rotation=pi/2))
c_555_comparator.add(gdstk.Reference(nmoshv_4, (17.55,1.4), rotation=3*pi/2))
c_555_comparator.add(gdstk.Reference(nmoshv_4, (18.89,1.4), rotation=3*pi/2))
c_555_comparator.add(gdstk.Reference(nmoshv_4, (20.23,1.4), rotation=3*pi/2))
c_555_comparator.add(gdstk.Reference(pmoshv_3, (16.9,3.77), rotation=3*pi/2))
c_555_comparator.add(gdstk.Reference(pmoshv_3, (18.74,3.77), rotation=3*pi/2))
c_555_comparator.add(gdstk.Reference(pmoshv_3, (20.58,3.77), rotation=3*pi/2))
c_555_comparator.add(gdstk.Reference(via_stack_3, (18.63,0.83), rotation=3*pi/2))
c_555_comparator.add(gdstk.Reference(via_stack_3, (18.48,3.2), rotation=3*pi/2))
c_555_comparator.add(gdstk.Reference(via_stack_4, (19.04,4.28), rotation=3*pi/2))
c_555_comparator.add(gdstk.Reference(via_stack_6, (16.72,0.72), rotation=3*pi/2))
c_555_comparator.add(gdstk.Reference(via_stack_6, (21.25,0.72), rotation=3*pi/2))
c_555_comparator.add(gdstk.Reference(via_stack_16, (10.9,17.4), rotation=3*pi/2))
c_555_comparator.add(gdstk.Reference(via_stack_8, (7.18,17.41), rotation=3*pi/2))
c_555_comparator.add(gdstk.Reference(via_stack_8, (14.62,17.4), rotation=3*pi/2))
c_555_comparator.add(gdstk.Reference(via_stack_9, (10.54,11.015), rotation=3*pi/2))
c_555_comparator.add(gdstk.Reference(via_stack_3, (11.26,11.015), rotation=3*pi/2))
c_555_comparator.add(gdstk.Reference(via_stack_3, (10.54,9.085), rotation=3*pi/2))
c_555_comparator.add(gdstk.Reference(via_stack_9, (11.26,9.085), rotation=3*pi/2))
c_555_comparator.add(gdstk.Reference(pmoshv, (5.28,11.58), rotation=3*pi/2))
c_555_comparator.add(gdstk.Reference(via_stack_10, (10.8,9.73)))
c_555_comparator.add(gdstk.Reference(via_stack_11, (10.9,10.37)))
c_555_comparator.add(gdstk.Reference(via_stack_12, (9.88,16.74)))
c_555_comparator.add(gdstk.Reference(via_stack_13, (2.49,2.1)))
c_555_comparator.add(gdstk.Reference(via_stack_13, (3.93,2.1)))
c_555_comparator.add(gdstk.Reference(via_stack_3, (17.29,0.83), rotation=3*pi/2))
c_555_comparator.add(gdstk.Reference(via_stack_3, (16.64,3.2), rotation=3*pi/2))
c_555_comparator.add(gdstk.Reference(via_stack_12, (11.92,16.74)))
c_555_comparator.add(gdstk.Reference(via_stack_12, (8.41,11.46)))
c_555_comparator.add(gdstk.Reference(via_stack_12, (12.27,8.64)))
c_555_comparator.add(gdstk.Reference(via_stack_12, (9.53,8.64)))
c_555_comparator.add(gdstk.Reference(via_stack_12, (13.38,11.46)))
c_555_comparator.add(gdstk.Reference(via_stack_12, (9.53,4.28)))
c_555_comparator.add(gdstk.Reference(via_stack_12, (13.38,4.28)))
c_555_comparator.add(gdstk.Reference(via_stack_12, (12.27,3.19)))
c_555_comparator.add(gdstk.Reference(via_stack_12, (8.41,3.19)))
c_555_comparator.add(gdstk.Reference(via_stack_13, (2.49,3.26)))
c_555_comparator.add(gdstk.Reference(via_stack_13, (3.93,3.26)))
c_555_comparator.add(gdstk.Reference(via_stack_13, (9.38,1.16), rotation=pi/2))
c_555_comparator.add(gdstk.Reference(nmoshv, (0.85,2.28), rotation=3*pi/2))
c_555_comparator.add(gdstk.Label('INN', (10.8,9.73), layer=30, texttype=25))
c_555_comparator.add(gdstk.Label('INP', (10.9,10.37), layer=30, texttype=25))
c_555_comparator.add(gdstk.Label('GNDA', (8.68,0.43), layer=8, texttype=25))
c_555_comparator.add(gdstk.Label('OUT', (19.71,2.02), layer=8, texttype=25))
c_555_comparator.add(gdstk.Label('VCCA', (10.9,18.89), layer=8, texttype=25))
c_555_comparator.add(gdstk.Label('PBIAS', (10.9,17.4), layer=10, texttype=25))

lib.write_gds('555_comparator.gds')
